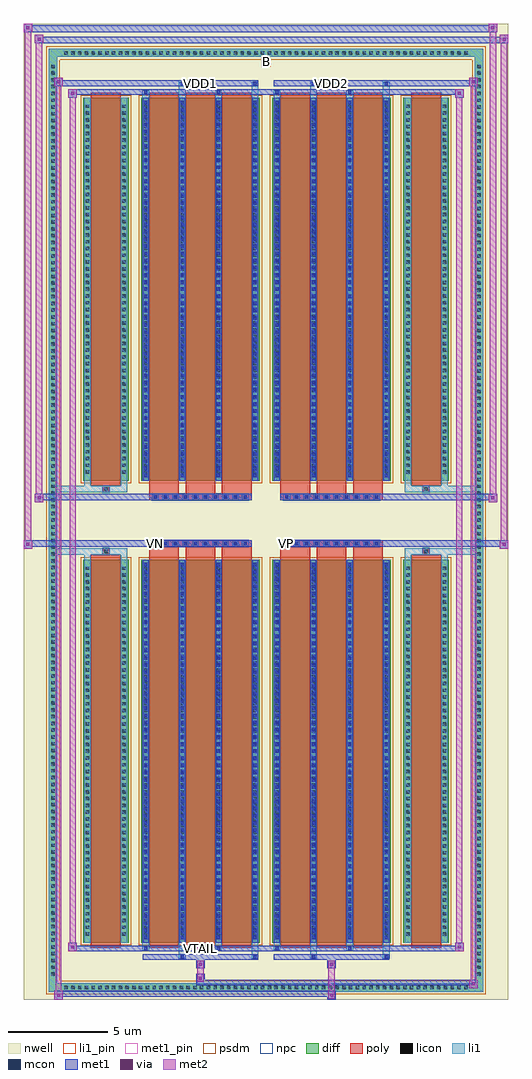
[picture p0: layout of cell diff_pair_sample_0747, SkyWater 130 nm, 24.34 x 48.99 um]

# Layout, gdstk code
import gdstk
lib = gdstk.Library(unit=1e-6, precision=5e-09)
def R(c, l, rs):  # rectangles x0, y0, x1, y1
    for r in rs: c.add(gdstk.rectangle(r[:2], r[2:], *l))
def A(c, l, x, y, w, h, nx, ny, dx, dy):  # array of equal rectangles
    R(c, l, [(x+i*dx, y+j*dy, x+i*dx+w, y+j*dy+h) for i in range(nx) for j in range(ny)])
def P(c, l, *ps):  # polygons
    for p in ps: c.add(gdstk.Polygon(p, *l))
nwell = (64, 20)
diff = (65, 20)
poly = (66, 20)
licon = (66, 44)
li1_pin = (67, 16)
li1 = (67, 20)
mcon = (67, 44)
met1_pin = (68, 16)
met1 = (68, 20)
via = (68, 44)
met2 = (69, 20)
psdm = (94, 20)
npc = (95, 20)

diff_pair_sample_0747 = lib.new_cell('diff_pair_sample_0747')
R(diff_pair_sample_0747, nwell, [(-12.17,-24.06,12.17,24.93), (-9.49,-22.25,-0.01,-0.805), (0.01,-22.25,9.49,-0.805), (-9.49,0.805,-0.01,22.25), (0.01,0.805,9.49,22.25)])
A(diff_pair_sample_0747, diff, -10.235, -23.66, 0.41, 0.41, 60, 2, 0.34, 46.91)
A(diff_pair_sample_0747, diff, -10.9, -22.985, 0.41, 0.41, 1, 135, 0, 0.34)
A(diff_pair_sample_0747, diff, 10.49, -22.985, 0.41, 0.41, 1, 135, 0, 0.34)
R(diff_pair_sample_0747, diff, [(-10.235,-23.66,10.235,-23.25), (-10.9,-22.985,-10.49,22.985), (10.49,-22.985,10.9,22.985), (-9.18,-21.205,-6.9,-1.985), (-6.26,-21.205,-0.32,-1.985), (0.32,-21.205,6.26,-1.985), (6.9,-21.205,9.18,-1.985), (-9.18,1.985,-6.9,21.205), (-6.26,1.985,-0.32,21.205), (0.32,1.985,6.26,21.205), (6.9,1.985,9.18,21.205), (-10.235,23.25,10.235,23.66)])
P(diff_pair_sample_0747, diff, [(10.9,23.66),(-10.9,23.66),(-10.9,-23.25),(-10.49,-23.25),(-10.49,23.25),(10.49,23.25),(10.49,-23.25),(-10.49,-23.25),(-10.9,-23.25),(-10.9,-23.66),(10.9,-23.66)])
A(diff_pair_sample_0747, poly, -5.87, -21.455, 1.5, 19.72, 3, 2, 1.83, 23.19)
A(diff_pair_sample_0747, poly, 0.71, -21.455, 1.5, 19.72, 3, 2, 1.83, 23.19)
A(diff_pair_sample_0747, poly, -5.87, -1.735, 1.5, 0.4, 3, 2, 1.83, 3.07)
A(diff_pair_sample_0747, poly, 0.71, -1.735, 1.5, 0.4, 3, 2, 1.83, 3.07)
A(diff_pair_sample_0747, poly, -5.705, -1.335, 0.33, 0.33, 10, 2, 0.5, 2.34)
A(diff_pair_sample_0747, poly, 0.875, -1.335, 0.33, 0.33, 10, 2, 0.5, 2.34)
R(diff_pair_sample_0747, poly, [(-8.79,-21.455,-7.29,-1.735), (7.29,-21.455,8.79,-1.735), (-8.205,-1.735,-7.875,-1.405), (-8.205,-1.735,-7.875,-1.405), (7.875,-1.735,8.205,-1.405), (7.875,-1.735,8.205,-1.405), (-5.87,-1.335,-0.71,-1.005), (0.71,-1.335,5.87,-1.005), (-5.87,1.005,-0.71,1.335), (0.71,1.005,5.87,1.335), (-8.205,1.405,-7.875,1.735), (-8.205,1.405,-7.875,1.735), (7.875,1.405,8.205,1.735), (7.875,1.405,8.205,1.735), (-8.79,1.735,-7.29,21.455), (7.29,1.735,8.79,21.455)])
A(diff_pair_sample_0747, licon, -10.115, -23.54, 0.17, 0.17, 60, 2, 0.34, 46.91)
A(diff_pair_sample_0747, licon, -10.78, -22.865, 0.17, 0.17, 1, 135, 0, 0.34)
A(diff_pair_sample_0747, licon, 10.61, -22.865, 0.17, 0.17, 1, 135, 0, 0.34)
A(diff_pair_sample_0747, licon, -9.04, -20.86, 0.17, 0.17, 1, 55, 0, 0.34)
A(diff_pair_sample_0747, licon, -7.21, -20.86, 0.17, 0.17, 1, 55, 0, 0.34)
A(diff_pair_sample_0747, licon, -6.12, -20.86, 0.17, 0.17, 4, 55, 1.83, 0.34)
A(diff_pair_sample_0747, licon, 0.46, -20.86, 0.17, 0.17, 4, 55, 1.83, 0.34)
A(diff_pair_sample_0747, licon, 7.04, -20.86, 0.17, 0.17, 1, 55, 0, 0.34)
A(diff_pair_sample_0747, licon, 8.87, -20.86, 0.17, 0.17, 1, 55, 0, 0.34)
A(diff_pair_sample_0747, licon, -5.625, -1.255, 0.17, 0.17, 10, 2, 0.5, 2.34)
A(diff_pair_sample_0747, licon, 0.955, -1.255, 0.17, 0.17, 10, 2, 0.5, 2.34)
A(diff_pair_sample_0747, licon, -9.04, 2.33, 0.17, 0.17, 1, 55, 0, 0.34)
A(diff_pair_sample_0747, licon, -7.21, 2.33, 0.17, 0.17, 1, 55, 0, 0.34)
A(diff_pair_sample_0747, licon, -6.12, 2.33, 0.17, 0.17, 4, 55, 1.83, 0.34)
A(diff_pair_sample_0747, licon, 0.46, 2.33, 0.17, 0.17, 4, 55, 1.83, 0.34)
A(diff_pair_sample_0747, licon, 7.04, 2.33, 0.17, 0.17, 1, 55, 0, 0.34)
A(diff_pair_sample_0747, licon, 8.87, 2.33, 0.17, 0.17, 1, 55, 0, 0.34)
R(diff_pair_sample_0747, licon, [(-8.125,-1.655,-7.955,-1.485), (7.955,-1.655,8.125,-1.485), (-8.125,1.485,-7.955,1.655), (7.955,1.485,8.125,1.655)])
R(diff_pair_sample_0747, li1_pin, [(-0.25,22.75,0.25,23.25)])
A(diff_pair_sample_0747, li1, -10.195, -23.62, 0.33, 0.33, 60, 2, 0.34, 46.91)
A(diff_pair_sample_0747, li1, -10.86, -22.945, 0.33, 0.33, 1, 135, 0, 0.34)
A(diff_pair_sample_0747, li1, 10.53, -22.945, 0.33, 0.33, 1, 135, 0, 0.34)
A(diff_pair_sample_0747, li1, -6.2, -21.205, 0.33, 19.22, 4, 2, 1.83, 23.19)
A(diff_pair_sample_0747, li1, 0.38, -21.205, 0.33, 19.22, 4, 2, 1.83, 23.19)
A(diff_pair_sample_0747, li1, -6.12, -21.04, 0.17, 0.17, 4, 53, 1.83, 0.36)
A(diff_pair_sample_0747, li1, -6.12, -21.04, 0.17, 18.89, 4, 2, 1.83, 23.19)
A(diff_pair_sample_0747, li1, 0.46, -21.04, 0.17, 0.17, 4, 53, 1.83, 0.36)
A(diff_pair_sample_0747, li1, 0.46, -21.04, 0.17, 18.89, 4, 2, 1.83, 23.19)
A(diff_pair_sample_0747, li1, -9.12, -20.94, 0.33, 0.33, 1, 55, 0, 0.34)
A(diff_pair_sample_0747, li1, -7.29, -20.94, 0.33, 0.33, 1, 55, 0, 0.34)
A(diff_pair_sample_0747, li1, -6.2, -20.94, 0.33, 0.33, 4, 55, 1.83, 0.34)
A(diff_pair_sample_0747, li1, 0.38, -20.94, 0.33, 0.33, 4, 55, 1.83, 0.34)
A(diff_pair_sample_0747, li1, 6.96, -20.94, 0.33, 0.33, 1, 55, 0, 0.34)
A(diff_pair_sample_0747, li1, 8.79, -20.94, 0.33, 0.33, 1, 55, 0, 0.34)
A(diff_pair_sample_0747, li1, -5.705, -1.335, 0.33, 0.33, 10, 2, 0.5, 2.34)
A(diff_pair_sample_0747, li1, 0.875, -1.335, 0.33, 0.33, 10, 2, 0.5, 2.34)
A(diff_pair_sample_0747, li1, -6.12, 2.15, 0.17, 0.17, 4, 53, 1.83, 0.36)
A(diff_pair_sample_0747, li1, 0.46, 2.15, 0.17, 0.17, 4, 53, 1.83, 0.36)
A(diff_pair_sample_0747, li1, -9.12, 2.25, 0.33, 0.33, 1, 55, 0, 0.34)
A(diff_pair_sample_0747, li1, -7.29, 2.25, 0.33, 0.33, 1, 55, 0, 0.34)
A(diff_pair_sample_0747, li1, -6.2, 2.25, 0.33, 0.33, 4, 55, 1.83, 0.34)
A(diff_pair_sample_0747, li1, 0.38, 2.25, 0.33, 0.33, 4, 55, 1.83, 0.34)
A(diff_pair_sample_0747, li1, 6.96, 2.25, 0.33, 0.33, 1, 55, 0, 0.34)
A(diff_pair_sample_0747, li1, 8.79, 2.25, 0.33, 0.33, 1, 55, 0, 0.34)
R(diff_pair_sample_0747, li1, [(-10.9,-23.66,-10.49,-23.25), (-10.9,-23.66,-10.49,-23.25), (-10.49,-23.66,10.49,-23.25), (10.49,-23.66,10.9,-23.25), (10.49,-23.66,10.9,-23.25), (-10.9,-23.25,-10.49,23.25), (10.49,-23.25,10.9,23.25), (-4.37,-22.01,-4.04,-21.205), (-4.29,-22.01,-4.12,-21.84), (-0.71,-22.01,-0.38,-21.205), (-0.63,-22.01,-0.46,-21.84), (2.21,-22.01,2.54,-21.205), (2.29,-22.01,2.46,-21.84), (5.87,-22.01,6.2,-21.205), (5.95,-22.01,6.12,-21.84), (-6.2,-21.58,-5.87,-21.205), (-6.12,-21.58,-5.95,-21.41), (-2.54,-21.58,-2.21,-21.205), (-2.46,-21.58,-2.29,-21.41), (0.38,-21.58,0.71,-21.205), (0.46,-21.58,0.63,-21.41), (4.04,-21.58,4.37,-21.205), (4.12,-21.58,4.29,-21.41), (-9.12,-21.205,-8.79,-1.985), (-7.29,-21.205,-6.96,-1.985), (6.96,-21.205,7.29,-1.985), (8.79,-21.205,9.12,-1.985), (-9.12,-1.985,-8.79,-1.405), (-7.29,-1.985,-6.96,-1.405), (6.96,-1.985,7.29,-1.405), (8.79,-1.985,9.12,-1.405), (-10.9,-1.735,-8.205,-1.405), (-9.12,-1.735,-8.205,-1.405), (-8.205,-1.735,-7.875,-1.405), (-7.875,-1.735,-6.96,-1.405), (6.96,-1.735,7.875,-1.405), (7.875,-1.735,8.205,-1.405), (7.875,-1.735,10.9,-1.405), (8.205,-1.735,9.12,-1.405), (-10.9,1.405,-8.205,1.735), (-9.12,1.405,-8.205,1.735), (-9.12,1.405,-8.79,1.985), (-8.205,1.405,-7.875,1.735), (-7.875,1.405,-6.96,1.735), (-7.29,1.405,-6.96,1.985), (6.96,1.405,7.875,1.735), (6.96,1.405,7.29,1.985), (7.875,1.405,8.205,1.735), (7.875,1.405,10.9,1.735), (8.205,1.405,9.12,1.735), (8.79,1.405,9.12,1.985), (-9.12,1.985,-8.79,21.205), (-7.29,1.985,-6.96,21.205), (6.96,1.985,7.29,21.205), (8.79,1.985,9.12,21.205), (-6.2,21.205,-5.87,21.58), (-4.37,21.205,-4.04,22.01), (-2.54,21.205,-2.21,21.58), (-0.71,21.205,-0.38,22.01), (0.38,21.205,0.71,21.58), (2.21,21.205,2.54,22.01), (4.04,21.205,4.37,21.58), (5.87,21.205,6.2,22.01), (-6.12,21.41,-5.95,21.58), (-2.46,21.41,-2.29,21.58), (0.46,21.41,0.63,21.58), (4.12,21.41,4.29,21.58), (-4.29,21.84,-4.12,22.01), (-0.63,21.84,-0.46,22.01), (2.29,21.84,2.46,22.01), (5.95,21.84,6.12,22.01), (-10.9,23.25,-10.49,23.66), (-10.9,23.25,-10.49,23.66), (-10.49,23.25,10.49,23.66), (10.49,23.25,10.9,23.66), (10.49,23.25,10.9,23.66)])
A(diff_pair_sample_0747, mcon, -6.12, -21.04, 0.17, 0.17, 4, 53, 1.83, 0.36)
A(diff_pair_sample_0747, mcon, 0.46, -21.04, 0.17, 0.17, 4, 53, 1.83, 0.36)
A(diff_pair_sample_0747, mcon, -5.625, -1.255, 0.17, 0.17, 10, 2, 0.5, 2.34)
A(diff_pair_sample_0747, mcon, 0.955, -1.255, 0.17, 0.17, 10, 2, 0.5, 2.34)
A(diff_pair_sample_0747, mcon, -6.12, 2.15, 0.17, 0.17, 4, 53, 1.83, 0.36)
A(diff_pair_sample_0747, mcon, 0.46, 2.15, 0.17, 0.17, 4, 53, 1.83, 0.36)
R(diff_pair_sample_0747, mcon, [(-4.29,-22.01,-4.12,-21.84), (-0.63,-22.01,-0.46,-21.84), (2.29,-22.01,2.46,-21.84), (5.95,-22.01,6.12,-21.84), (-6.12,-21.58,-5.95,-21.41), (-2.46,-21.58,-2.29,-21.41), (0.46,-21.58,0.63,-21.41), (4.12,-21.58,4.29,-21.41), (-6.12,21.41,-5.95,21.58), (-2.46,21.41,-2.29,21.58), (0.46,21.41,0.63,21.58), (4.12,21.41,4.29,21.58), (-4.29,21.84,-4.12,22.01), (-0.63,21.84,-0.46,22.01), (2.29,21.84,2.46,22.01), (5.95,21.84,6.12,22.01)])
R(diff_pair_sample_0747, met1_pin, [(-3.425,-21.62,-3.155,-21.35), (-5.675,-1.295,-5.405,-1.025), (0.905,-1.295,1.175,-1.025), (-3.425,21.8,-3.155,22.07), (3.155,21.8,3.425,22.07)])
A(diff_pair_sample_0747, met1, -6.18, -21.205, 0.29, 19.22, 4, 2, 1.83, 23.19)
A(diff_pair_sample_0747, met1, 0.4, -21.205, 0.29, 19.22, 4, 2, 1.83, 23.19)
A(diff_pair_sample_0747, met1, -6.18, -21.1, 0.29, 0.29, 4, 53, 1.83, 0.36)
A(diff_pair_sample_0747, met1, 0.4, -21.1, 0.29, 0.29, 4, 53, 1.83, 0.36)
A(diff_pair_sample_0747, met1, -5.685, -1.315, 0.29, 0.29, 10, 2, 0.5, 2.34)
A(diff_pair_sample_0747, met1, 0.895, -1.315, 0.29, 0.29, 10, 2, 0.5, 2.34)
A(diff_pair_sample_0747, met1, -6.18, 2.09, 0.29, 0.29, 4, 53, 1.83, 0.36)
A(diff_pair_sample_0747, met1, 0.4, 2.09, 0.29, 0.29, 4, 53, 1.83, 0.36)
R(diff_pair_sample_0747, met1, [(-10.63,-24.06,-10.2,-23.63), (3.075,-24.06,3.505,-23.63), (-10.63,-23.92,3.505,-23.63), (10.2,-23.49,10.63,-23.06), (-3.505,-23.35,10.63,-23.06), (-3.505,-23.21,-3.075,-22.78), (-3.505,-22.5,-3.075,-22.07), (3.075,-22.5,3.505,-22.07), (-6.18,-22.07,-0.4,-21.78), (-4.35,-22.07,-4.06,-21.78), (-0.69,-22.07,-0.4,-21.78), (0.4,-22.07,6.18,-21.78), (2.23,-22.07,2.52,-21.78), (5.89,-22.07,6.18,-21.78), (-9.92,-21.64,-9.49,-21.21), (-9.92,-21.64,-6.18,-21.35), (-6.18,-21.64,-5.89,-21.35), (-6.18,-21.64,-0.4,-21.35), (-2.52,-21.64,-2.23,-21.35), (-0.4,-21.64,0.4,-21.35), (0.4,-21.64,0.69,-21.35), (0.4,-21.64,6.18,-21.35), (4.06,-21.64,4.35,-21.35), (6.18,-21.64,9.92,-21.35), (9.49,-21.64,9.92,-21.21), (-12.17,-1.435,-11.74,-1.005), (11.74,-1.435,12.17,-1.005), (-12.17,-1.335,-0.71,-1.005), (-5.87,-1.335,-0.71,-1.005), (0.71,-1.335,5.87,-1.005), (0.71,-1.335,12.17,-1.005), (-11.6,0.905,-11.17,1.335), (11.17,0.905,11.6,1.335), (-11.6,1.005,-5.87,1.335), (-5.87,1.005,-0.71,1.335), (0.71,1.005,5.87,1.335), (5.87,1.005,11.6,1.335), (-9.92,21.21,-9.49,21.64), (9.49,21.21,9.92,21.64), (-9.92,21.35,-6.18,21.64), (-6.18,21.35,-5.89,21.64), (-6.18,21.35,-0.4,21.64), (-2.52,21.35,-2.23,21.64), (-0.4,21.35,0.4,21.64), (0.4,21.35,0.69,21.64), (0.4,21.35,6.18,21.64), (4.06,21.35,4.35,21.64), (6.18,21.35,9.92,21.64), (-10.63,21.78,-10.2,22.21), (-10.63,21.78,-6.18,22.07), (-6.18,21.78,-0.4,22.07), (-4.35,21.78,-4.06,22.07), (-0.69,21.78,-0.4,22.07), (0.4,21.78,6.18,22.07), (2.23,21.78,2.52,22.07), (5.89,21.78,6.18,22.07), (6.18,21.78,10.63,22.07), (10.2,21.78,10.63,22.21), (-11.6,23.93,-11.17,24.36), (-11.6,23.93,-9.49,24.26), (-9.49,23.93,9.49,24.26), (9.49,23.93,12.17,24.26), (11.74,23.93,12.17,24.36), (-12.17,24.5,-11.74,24.93), (-12.17,24.5,-9.49,24.83), (-9.49,24.5,9.49,24.83), (9.49,24.5,11.6,24.83), (11.17,24.5,11.6,24.93)])
R(diff_pair_sample_0747, via, [(-10.49,-23.92,-10.34,-23.77), (3.215,-23.92,3.365,-23.77), (10.34,-23.35,10.49,-23.2), (-3.365,-23.07,-3.215,-22.92), (-3.365,-22.36,-3.215,-22.21), (3.215,-22.36,3.365,-22.21), (-9.78,-21.5,-9.63,-21.35), (9.63,-21.5,9.78,-21.35), (-12.03,-1.295,-11.88,-1.145), (11.88,-1.295,12.03,-1.145), (-11.46,1.045,-11.31,1.195), (11.31,1.045,11.46,1.195), (-9.78,21.35,-9.63,21.5), (9.63,21.35,9.78,21.5), (-10.49,21.92,-10.34,22.07), (10.34,21.92,10.49,22.07), (-11.46,24.07,-11.31,24.22), (11.88,24.07,12.03,24.22), (-12.03,24.64,-11.88,24.79), (11.31,24.64,11.46,24.79)])
R(diff_pair_sample_0747, met2, [(-10.63,-24.06,-10.2,-23.63), (-10.56,-24.06,-10.27,22.21), (-10.27,-24.06,-10.2,-23.63), (-10.58,-24.01,-10.25,-23.68), (3.125,-24.01,3.455,-23.68), (3.125,-23.68,3.455,-22.45), (10.2,-23.49,10.63,-23.06), (10.27,-23.49,10.56,22.21), (10.56,-23.49,10.63,-23.06), (10.25,-23.44,10.58,-23.11), (-3.455,-23.16,-3.125,-22.83), (-3.455,-22.83,-3.125,-22.45), (-3.455,-22.45,-3.125,-22.12), (3.125,-22.45,3.455,-22.12), (-9.92,-21.64,-9.49,-21.21), (-9.85,-21.64,-9.56,21.64), (-9.56,-21.64,-9.49,-21.21), (9.49,-21.64,9.92,-21.21), (9.56,-21.64,9.85,21.64), (9.85,-21.64,9.92,-21.21), (-9.87,-21.59,-9.54,-21.26), (9.54,-21.59,9.87,-21.26), (-12.17,-1.435,-11.74,-1.005), (-12.12,-1.435,-11.79,24.93), (-11.79,-1.435,-11.74,-1.005), (11.74,-1.435,12.17,-1.005), (11.79,-1.435,12.12,24.36), (12.12,-1.435,12.17,-1.005), (-12.12,-1.385,-11.79,-1.055), (11.79,-1.385,12.12,-1.055), (-11.6,0.905,-11.17,1.335), (-11.55,0.905,-11.22,24.36), (-11.22,0.905,-11.17,1.335), (11.17,0.905,11.6,1.335), (11.22,0.905,11.55,24.93), (11.55,0.905,11.6,1.335), (-11.55,0.955,-11.22,1.285), (11.22,0.955,11.55,1.285), (-9.92,21.21,-9.49,21.64), (-9.56,21.21,-9.49,21.64), (9.49,21.21,9.92,21.64), (9.85,21.21,9.92,21.64), (-9.87,21.26,-9.54,21.59), (9.54,21.26,9.87,21.59), (-10.63,21.78,-10.2,22.21), (-10.27,21.78,-10.2,22.21), (10.2,21.78,10.63,22.21), (10.56,21.78,10.63,22.21), (-10.58,21.83,-10.25,22.16), (10.25,21.83,10.58,22.16), (-11.6,23.93,-11.17,24.36), (-11.22,23.93,-11.17,24.36), (11.74,23.93,12.17,24.36), (12.12,23.93,12.17,24.36), (-11.55,23.98,-11.22,24.31), (11.79,23.98,12.12,24.31), (-12.17,24.5,-11.74,24.93), (-11.79,24.5,-11.74,24.93), (11.17,24.5,11.6,24.93), (11.55,24.5,11.6,24.93), (-12.12,24.55,-11.79,24.88), (11.22,24.55,11.55,24.88)])
R(diff_pair_sample_0747, psdm, [(-9.31,-21.335,-6.77,-1.855), (-6.39,-21.335,-0.19,-1.855), (0.19,-21.335,6.39,-1.855), (6.77,-21.335,9.31,-1.855), (-9.31,1.855,-6.77,21.335), (-6.39,1.855,-0.19,21.335), (0.19,1.855,6.39,21.335), (6.77,1.855,9.31,21.335)])
P(diff_pair_sample_0747, psdm, [(11.03,23.79),(-11.03,23.79),(-11.03,-23.12),(-10.36,-23.12),(-10.36,23.12),(10.36,23.12),(10.36,-23.12),(-10.36,-23.12),(-11.03,-23.12),(-11.03,-23.79),(11.03,-23.79)])
A(diff_pair_sample_0747, npc, -5.725, -1.355, 0.37, 0.37, 10, 2, 0.5, 2.34)
A(diff_pair_sample_0747, npc, 0.855, -1.355, 0.37, 0.37, 10, 2, 0.5, 2.34)
R(diff_pair_sample_0747, npc, [(-8.225,-1.755,-7.855,-1.385), (7.855,-1.755,8.225,-1.385), (-5.725,-1.355,-4.855,-0.985), (-5.725,-1.355,-4.855,-0.985), (-5.225,-1.355,-4.355,-0.985), (-5.225,-1.355,-4.355,-0.985), (-4.725,-1.355,-3.855,-0.985), (-4.725,-1.355,-3.855,-0.985), (-4.225,-1.355,-3.355,-0.985), (-4.225,-1.355,-3.355,-0.985), (-3.725,-1.355,-2.855,-0.985), (-3.725,-1.355,-2.855,-0.985), (-3.225,-1.355,-2.355,-0.985), (-3.225,-1.355,-2.355,-0.985), (-2.725,-1.355,-1.855,-0.985), (-2.725,-1.355,-1.855,-0.985), (-2.225,-1.355,-1.355,-0.985), (-2.225,-1.355,-1.355,-0.985), (-1.725,-1.355,-0.855,-0.985), (-1.725,-1.355,-0.855,-0.985), (0.855,-1.355,1.725,-0.985), (0.855,-1.355,1.725,-0.985), (1.355,-1.355,2.225,-0.985), (1.355,-1.355,2.225,-0.985), (1.855,-1.355,2.725,-0.985), (1.855,-1.355,2.725,-0.985), (2.355,-1.355,3.225,-0.985), (2.355,-1.355,3.225,-0.985), (2.855,-1.355,3.725,-0.985), (2.855,-1.355,3.725,-0.985), (3.355,-1.355,4.225,-0.985), (3.355,-1.355,4.225,-0.985), (3.855,-1.355,4.725,-0.985), (3.855,-1.355,4.725,-0.985), (4.355,-1.355,5.225,-0.985), (4.355,-1.355,5.225,-0.985), (4.855,-1.355,5.725,-0.985), (4.855,-1.355,5.725,-0.985), (-5.725,0.985,-4.855,1.355), (-5.725,0.985,-4.855,1.355), (-5.225,0.985,-4.355,1.355), (-5.225,0.985,-4.355,1.355), (-4.725,0.985,-3.855,1.355), (-4.725,0.985,-3.855,1.355), (-4.225,0.985,-3.355,1.355), (-4.225,0.985,-3.355,1.355), (-3.725,0.985,-2.855,1.355), (-3.725,0.985,-2.855,1.355), (-3.225,0.985,-2.355,1.355), (-3.225,0.985,-2.355,1.355), (-2.725,0.985,-1.855,1.355), (-2.725,0.985,-1.855,1.355), (-2.225,0.985,-1.355,1.355), (-2.225,0.985,-1.355,1.355), (-1.725,0.985,-0.855,1.355), (-1.725,0.985,-0.855,1.355), (0.855,0.985,1.725,1.355), (0.855,0.985,1.725,1.355), (1.355,0.985,2.225,1.355), (1.355,0.985,2.225,1.355), (1.855,0.985,2.725,1.355), (1.855,0.985,2.725,1.355), (2.355,0.985,3.225,1.355), (2.355,0.985,3.225,1.355), (2.855,0.985,3.725,1.355), (2.855,0.985,3.725,1.355), (3.355,0.985,4.225,1.355), (3.355,0.985,4.225,1.355), (3.855,0.985,4.725,1.355), (3.855,0.985,4.725,1.355), (4.355,0.985,5.225,1.355), (4.355,0.985,5.225,1.355), (4.855,0.985,5.725,1.355), (4.855,0.985,5.725,1.355), (-8.225,1.385,-7.855,1.755), (7.855,1.385,8.225,1.755)])
diff_pair_sample_0747.add(gdstk.Label('VTAIL', (-3.29,-21.485), layer=68, texttype=5))
diff_pair_sample_0747.add(gdstk.Label('VN', (-5.54,-1.16), layer=68, texttype=5))
diff_pair_sample_0747.add(gdstk.Label('VP', (1.04,-1.16), layer=68, texttype=5))
diff_pair_sample_0747.add(gdstk.Label('B', (0,23), layer=67, texttype=5))
diff_pair_sample_0747.add(gdstk.Label('VDD2', (3.29,21.935), layer=68, texttype=5))
diff_pair_sample_0747.add(gdstk.Label('VDD1', (-3.29,21.935), layer=68, texttype=5))

lib.write_gds('diff_pair_sample_0747.gds')
